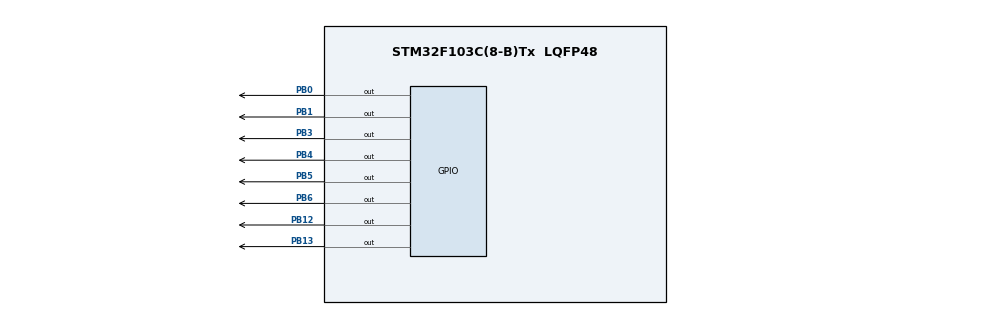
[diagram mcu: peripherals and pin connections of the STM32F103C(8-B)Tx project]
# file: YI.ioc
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Mcu.Family=STM32F1
Mcu.Name=STM32F103C(8-B)Tx
Mcu.Package=LQFP48
NVIC.PriorityGroup=NVIC_PRIORITYGROUP_4
PB0.Signal=GPIO_Output
PB1.Signal=GPIO_Output
PB12.Signal=GPIO_Output
PB13.Signal=GPIO_Output
PB3.Signal=GPIO_Output
PB4.Signal=GPIO_Output
PB5.Signal=GPIO_Output
PB6.Signal=GPIO_Output
ProjectManager.HeapSize=0x200
ProjectManager.StackSize=0x400
ProjectManager.TargetToolchain=STM32CubeIDE
RCC.APB1Freq_Value=8000000
RCC.APB2Freq_Value=8000000
board=custom

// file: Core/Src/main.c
/* USER CODE BEGIN Header */
/**
  ******************************************************************************
  * @file           : main.c
  * @brief          : Main program body
  ******************************************************************************
  * @attention
  *
  * Copyright (c) 2024 STMicroelectronics.
  * All rights reserved.
  *
  * This software is licensed under terms that can be found in the LICENSE file
  * in the root directory of this software component.
  * If no LICENSE file comes with this software, it is provided AS-IS.
  *
  ******************************************************************************
  */
/* USER CODE END Header */
#include "yi.h"
#include "main.h"
#include "stm32f1xx_hal.h"
#include <stdbool.h>
#include <stdint.h>
#include "stm32f1xx_hal_gpio.h"
#include "stdio.h"

typedef enum {
    LED_PIN_0 = GPIO_PIN_0,
    LED_PIN_1 = GPIO_PIN_1,
    LED_PIN_2 = GPIO_PIN_5,
    LED_PIN_3 = GPIO_PIN_6,
    LED_PIN_4 = GPIO_PIN_12,
    LED_PIN_5 = GPIO_PIN_13,
} LED_Pin;

typedef struct {
    LED_Pin pin;
    int status;
} LEDStatus;

LEDStatus led_status[6] = {
    {LED_PIN_0, 0},
    {LED_PIN_1, 0},
    {LED_PIN_2, 0},
    {LED_PIN_3, 0},
    {LED_PIN_4, 0},
    {LED_PIN_5, 0}
};

void SystemClock_Config(void);
static void MX_GPIO_Init(void);
void SetLEDStatusBasedOnNumbers(int numbers[6]);
void ControlLEDs(void);

/* USER CODE BEGIN 0 */

void SetLEDStatusBasedOnNumbers(int numbers[6]) {
    for (int i = 0; i < 6; ++i) {
        switch (numbers[i]) {
            case 6:
                led_status[i].status = 0;
                break;
            case 7:
                led_status[i].status = 1;
                break;
            case 8:
                led_status[i].status = 2;
                break;
            case 9:
                led_status[i].status = 3;
                break;
        }
    }
}

void ControlLEDs(void) {
    static uint32_t last_time = 0;
    uint32_t current_time = HAL_GetTick();

    //0和3都是闪烁，1是常亮，2是不亮，0号LED的闪烁周期为3秒（亮2秒，暗1秒），而3号LED的闪烁周期也是3秒（亮1秒，暗2秒）。
     for (int i = 0; i < 6; i++) {
        switch (led_status[i].status) {
            case 0:
                if ((current_time - last_time) % 6000 < 4000) { // 0号LED 亮2秒，暗1秒
                    HAL_GPIO_WritePin(GPIOB, led_status[i].pin, GPIO_PIN_SET);
                } else {
                    HAL_GPIO_WritePin(GPIOB, led_status[i].pin, GPIO_PIN_RESET);
                }
                break;
            case 1:
                HAL_GPIO_WritePin(GPIOB, led_status[i].pin, GPIO_PIN_SET); // 1号LED 常亮
                break;
            case 2:
                HAL_GPIO_WritePin(GPIOB, led_status[i].pin, GPIO_PIN_RESET); // 2号LED 不亮
                break;
            case 3:
                if ((current_time - last_time) % 6000 < 1000) { // 3号LED 亮1秒，暗2秒
                    HAL_GPIO_WritePin(GPIOB, led_status[i].pin, GPIO_PIN_SET);
                } else {
                    HAL_GPIO_WritePin(GPIOB, led_status[i].pin, GPIO_PIN_RESET);
                }
                break;
        }
    }
}
/* USER CODE END 0 */

int main(void)
{
  /* USER CODE BEGIN 1 */
  int numbers[6] ;
   numbers = generateYaoResults();
    SetLEDStatusBasedOnNumbers(numbers);
  /* USER CODE END 1 */

  /* MCU Configuration--------------------------------------------------------*/
  /* Reset of all peripherals, Initializes the Flash interface and the Systick. */
  HAL_Init();

  /* Configure the system clock */
  SystemClock_Config();

  /* Initialize all configured peripherals */
  MX_GPIO_Init();

  /* Infinite loop */
  while (1)
  {
    ControlLEDs();
  }
}

void SystemClock_Config(void)
{
  RCC_OscInitTypeDef RCC_OscInitStruct = {0};
  RCC_ClkInitTypeDef RCC_ClkInitStruct = {0};

  /** Initializes the RCC Oscillators according to the specified parameters
  * in the RCC_OscInitTypeDef structure.
  */
  RCC_OscInitStruct.OscillatorType = RCC_OSCILLATORTYPE_HSI;
  RCC_OscInitStruct.HSIState = RCC_HSI_ON;
  RCC_OscInitStruct.HSICalibrationValue = RCC_HSICALIBRATION_DEFAULT;
  RCC_OscInitStruct.PLL.PLLState = RCC_PLL_NONE;
  if (HAL_RCC_OscConfig(&RCC_OscInitStruct) != HAL_OK)
  {
    Error_Handler();
  }

  /** Initializes the CPU, AHB and APB buses clocks
  */
  RCC_ClkInitStruct.ClockType = RCC_CLOCKTYPE_HCLK|RCC_CLOCKTYPE_SYSCLK
                              |RCC_CLOCKTYPE_PCLK1|RCC_CLOCKTYPE_PCLK2;
  RCC_ClkInitStruct.SYSCLKSource = RCC_SYSCLKSOURCE_HSI;
  RCC_ClkInitStruct.AHBCLKDivider = RCC_SYSCLK_DIV1;
  RCC_ClkInitStruct.APB1CLKDivider = RCC_HCLK_DIV1;
  RCC_ClkInitStruct.APB2CLKDivider = RCC_HCLK_DIV1;

  if (HAL_RCC_ClockConfig(&RCC_ClkInitStruct, FLASH_LATENCY_0) != HAL_OK)
  {
    Error_Handler();
  }
}

static void MX_GPIO_Init(void)
{
  GPIO_InitTypeDef GPIO_InitStruct = {0};

  /* GPIO Ports Clock Enable */
  __HAL_RCC_GPIOB_CLK_ENABLE();

  /*Configure GPIO pin Output Level */
  HAL_GPIO_WritePin(GPIOB, GPIO_PIN_0|GPIO_PIN_1|GPIO_PIN_12|GPIO_PIN_13
                          |GPIO_PIN_5|GPIO_PIN_6, GPIO_PIN_RESET);

  /*Configure GPIO pins : PB0 PB1 PB12 PB13 PB5 PB6 */
  GPIO_InitStruct.Pin = GPIO_PIN_0|GPIO_PIN_1|GPIO_PIN_12|GPIO_PIN_13|GPIO_PIN_5|GPIO_PIN_6;
  GPIO_InitStruct.Mode = GPIO_MODE_OUTPUT_PP;
  GPIO_InitStruct.Pull = GPIO_NOPULL;
  GPIO_InitStruct.Speed = GPIO_SPEED_FREQ_LOW;
  HAL_GPIO_Init(GPIOB, &GPIO_InitStruct);
}

void Error_Handler(void)
{
  __disable_irq();
  while (1)
  {
  }
}
